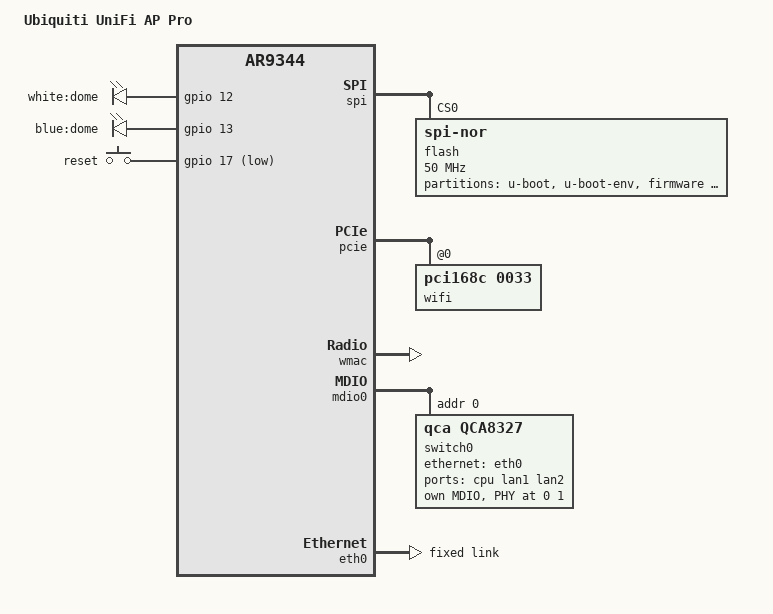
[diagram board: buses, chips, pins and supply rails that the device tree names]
// SPDX-License-Identifier: GPL-2.0-or-later OR MIT

#include "ar9344.dtsi"

#include <dt-bindings/gpio/gpio.h>
#include <dt-bindings/input/input.h>

/ {
	model = "Ubiquiti UniFi AP Pro";
	compatible = "ubnt,unifi-ap-pro";

	aliases {
		led-boot = &led_white;
		led-failsafe = &led_white;
		led-running = &led_blue;
		led-upgrade = &led_blue;
		label-mac-device = &eth0;
	};

	leds {
		compatible = "gpio-leds";

		led_white: led-white {
			label = "white:dome";
			gpios = <&gpio 12 GPIO_ACTIVE_HIGH>;
		};

		led_blue: led-blue {
			label = "blue:dome";
			gpios = <&gpio 13 GPIO_ACTIVE_HIGH>;
		};
	};

	keys {
		compatible = "gpio-keys";

		reset {
			linux,code = <KEY_RESTART>;
			gpios = <&gpio 17 GPIO_ACTIVE_LOW>;
			debounce-interval = <60>;
		};
	};
};

&ref {
	clock-frequency = <40000000>;
};

&spi {
	status = "okay";

	flash@0 {
		compatible = "jedec,spi-nor";
		reg = <0>;
		spi-max-frequency = <50000000>;

		partitions {
			compatible = "fixed-partitions";
			#address-cells = <1>;
			#size-cells = <1>;

			uboot: partition@0 {
				label = "u-boot";
				reg = <0x0 0x40000>;
				read-only;
			};

			partition@40000 {
				label = "u-boot-env";
				reg = <0x40000 0x10000>;
				read-only;
			};

			partition@50000 {
				label = "firmware";
				reg = <0x50000 0xf60000>;

				compatible = "fixed-partitions";
				#address-cells = <1>;
				#size-cells = <1>;

				partition@0 {
					label = "kernel";
					reg = <0x0 0x300000>;
					/* Can be resized w/o issues.
					 * U-Boot can load kernel from the
					 * entirety of the "firmware" partition space.
					 */
				};

				partition@300000 {
					label = "rootfs";
					reg = <0x300000 0xc60000>;
				};
			};

			partition@fb0000 {
				label = "cfg";
				reg = <0xfb0000 0x40000>;
				read-only;
			};

			art: partition@ff0000 {
				label = "art";
				reg = <0xff0000 0x10000>;
				read-only;
			};
		};
	};
};

&pcie {
	status = "okay";

	wifi@0,0 {
		compatible = "pci168c,0033";
		reg = <0 0 0 0 0>;
		qca,no-eeprom;
	};
};

&wmac {
	status = "okay";

	mtd-cal-data = <&art 0x1000>;
};

&mdio0 {
	status = "okay";

	switch0@10 {
		compatible = "qca,qca8327";
		#address-cells = <1>;
		#size-cells = <0>;

		reg = <0>;
		qca,ignore-power-on-sel;

		ports {
			#address-cells = <1>;
			#size-cells = <0>;

			port@0 {
				reg = <0>;
				label = "cpu";
				ethernet = <&eth0>;
				phy-mode = "rgmii-id";

				fixed-link {
					speed = <1000>;
					full-duplex;
				};
			};

			port@1 {
				reg = <1>;
				label = "lan1";
				phy-mode = "internal";
				phy-handle = <&phy_port1>;
			};

			port@2 {
				reg = <2>;
				label = "lan2";
				phy-mode = "internal";
				phy-handle = <&phy_port2>;
			};
		};

		mdio {
			#address-cells = <1>;
			#size-cells = <0>;

			phy_port1: phy@0 {
				reg = <0>;
			};

			phy_port2: phy@1 {
				reg = <1>;
			};
		};
	};
};

&eth0 {
	status = "okay";

	pll-data = <0x6000000 0x101 0x1616>;

	nvmem-cells = <&macaddr_art_0>;
	nvmem-cell-names = "mac-address";

	fixed-link {
		speed = <1000>;
		full-duplex;
	};
};

&art {
	compatible = "nvmem-cells";
	#address-cells = <1>;
	#size-cells = <1>;

	macaddr_art_0: macaddr@0 {
		reg = <0x0 0x6>;
	};
};
